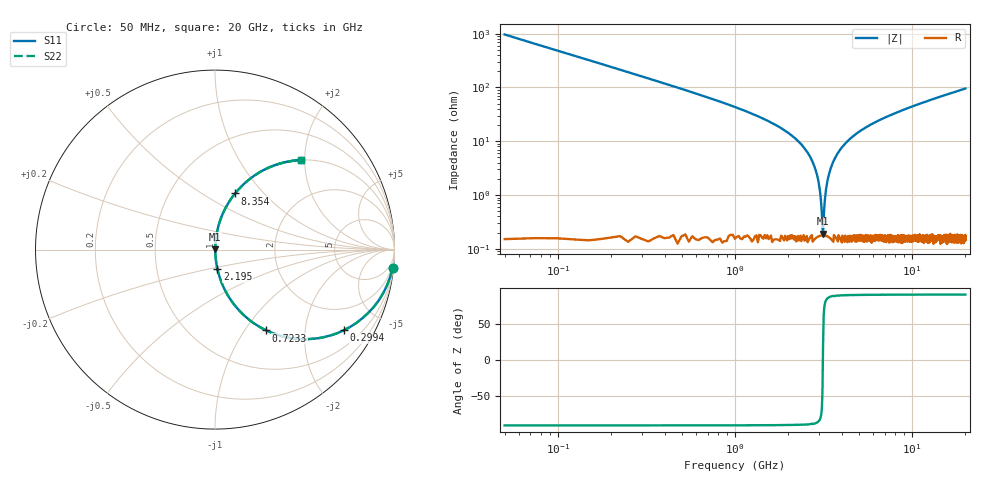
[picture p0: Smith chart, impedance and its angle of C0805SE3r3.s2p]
! AVX Thin Film Operation		Date: April 2012
! Description: Accu-P® Series, Thin Film, SMD, RF Capacitor
! Part Number: 08051J3R3ABTTR
!	100	MHz	-	20.05	GHz
!	Serial	Measurements
#	MHZ	S	MA	R	50
!	S11	S21	S12	S22
!	dB	Phase	dB	Phase	dB	Phase	dB	Phase
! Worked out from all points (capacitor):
!   801 points, 50 MHz to 20 GHz, reference 50 ohm
!   read as one part in series: C = 3.3 pF near 149.8 MHz
!   lowest |Z| = 191 mohm at 3.142 GHz (marker M1)
!   series resonance near 3.136 GHz, so ESL is about 780 pH
!   S11 on the Smith chart (normalised r, x): 50 MHz: 1, -19; 299.4 MHz: 1.00, -3.19; 723.3 MHz: 1.00, -1.26; 2.195 GHz: 1.00, -0.22; 8.354 GHz: 1.00, +0.70; 20 GHz: 1.00, +1.91
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50  0.995 -5.9  0.103 84.1  0.103 84.1  0.995 -5.9
199.625  0.923 -22.6  0.384 67.4  0.384 67.4  0.923 -22.6
299.375  0.847 -32.0  0.531 57.9  0.531 57.9  0.847 -32.0
723.313  0.533 -57.6  0.845 32.2  0.845 32.2  0.533 -57.6
1271.938  0.302 -72.2  0.952 17.6  0.952 17.6  0.302 -72.2
2194.625  0.111 -82.8  0.992 6.4  0.992 6.4  0.111 -82.8
2793.125  0.036 -85.4  0.998 2.0  0.998 2.0  0.036 -85.4
2942.75  0.02 -84.3  0.998 1.1  0.998 1.1  0.02 -84.3
3067.438  0.006925 -76.5  0.998 0.4  0.998 0.4  0.006925 -76.5
3142.25  0.0017 22.7  0.998 -0.0  0.998 -0.0  0.0017 22.7
3217.063  0.008039 78.3  0.998 -0.5  0.998 -0.5  0.008039 78.3
3291.875  0.015 83.2  0.998 -0.9  0.998 -0.9  0.015 83.2
3391.625  0.024 84.9  0.998 -1.4  0.998 -1.4  0.024 84.9
3740.75  0.054 85.2  0.997 -3.1  0.997 -3.1  0.054 85.2
4339.25  0.101 83.3  0.993 -5.8  0.993 -5.8  0.101 83.3
5261.938  0.164 80.0  0.985 -9.4  0.985 -9.4  0.164 80.0
6708.313  0.249 75.2  0.967 -14.4  0.967 -14.4  0.249 75.2
8354.188  0.332 70.4  0.942 -19.4  0.942 -19.4  0.332 70.4
10025  0.405 65.9  0.913 -23.9  0.913 -23.9  0.405 65.9
13366.62  0.526 58.1  0.849 -31.7  0.849 -31.7  0.526 58.1
16683.31  0.619 51.6  0.784 -38.2  0.784 -38.2  0.619 51.6
20000  0.691 46.2  0.722 -43.7  0.722 -43.7  0.691 46.2
